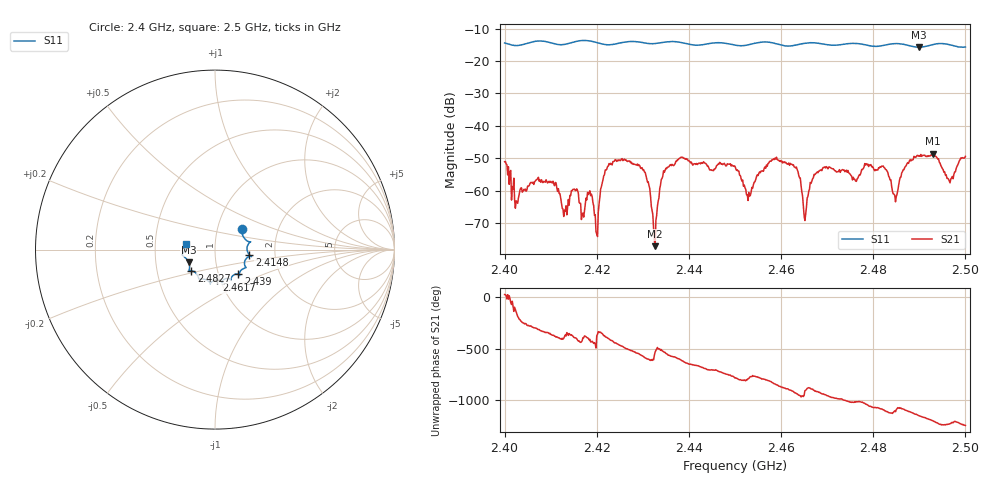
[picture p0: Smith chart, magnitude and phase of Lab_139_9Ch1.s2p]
# Hz S RI R 50
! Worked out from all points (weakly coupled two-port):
!   601 points, 2.4 GHz to 2.5 GHz, reference 50 ohm
!   highest |S21| = -48.57 dB at 2.493 GHz (marker M1); lowest = -77.0 dB at 2.4327 GHz (marker M2)
!   lowest |S11| = -15.7 dB at 2.4898 GHz (marker M3), VSWR 1.39, Z = 36.9 - j5.39 ohm
!   |S11| at or under -10 dB: start of sweep to end of sweep
!   S12 and S22 are empty: the file has one direction only
!   S11 on the Smith chart (normalised r, x): 2.4 GHz: 1.31, +0.31; 2.4148 GHz: 1.47, -0.09; 2.439 GHz: 1.24, -0.35; 2.4617 GHz: 0.96, -0.34; 2.4827 GHz: 0.75, -0.18; 2.5 GHz: 0.72, +0.05
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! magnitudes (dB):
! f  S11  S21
! 2.4 GHz  -14.4  -51.0
! 2.4027 GHz  -15.2  -63.5
! 2.4148 GHz  -14.2  -59.6
! 2.4167 GHz  -13.7  -68.8
! 2.42 GHz  -14.3  -73.3
! 2.4222 GHz  -15.0  -53.3
! 2.4258 GHz  -14.2  -50.5
! 2.4303 GHz  -14.4  -54.2
! 2.4327 GHz  -14.6  -77.0
! 2.4333 GHz  -14.5  -63.2
! 2.439 GHz  -14.5  -50.0
! 2.45 GHz  -15.1  -52.4
! 2.453 GHz  -15.0  -60.5
! 2.4617 GHz  -15.4  -51.4
! 2.4652 GHz  -14.5  -69.1
! 2.4667 GHz  -14.4  -57.1
! 2.4827 GHz  -15.1  -53.4
! 2.4833 GHz  -14.9  -55.4
! 2.4848 GHz  -14.6  -63.4
! 2.4898 GHz  -15.7  -49.3
! 2.493 GHz  -14.9  -48.6
! 2.5 GHz  -15.7  -49.4
